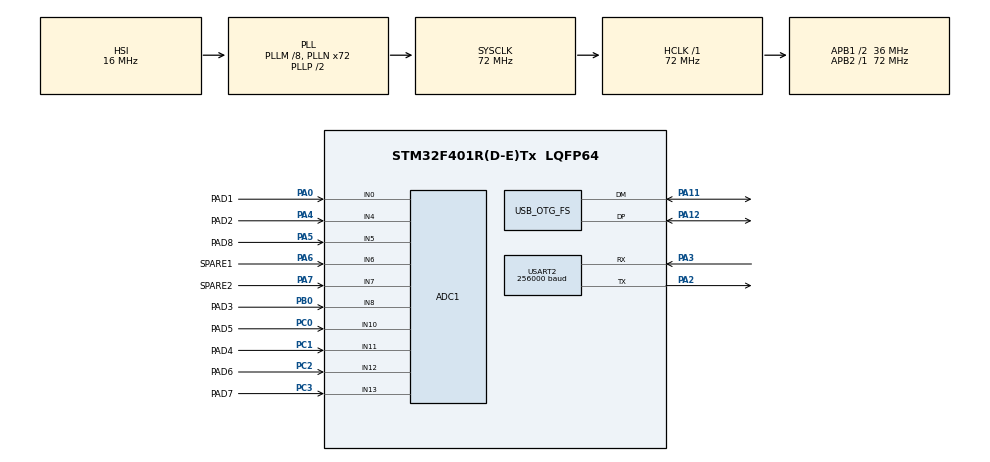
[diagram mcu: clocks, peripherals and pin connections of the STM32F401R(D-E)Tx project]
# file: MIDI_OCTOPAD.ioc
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ADC1.Channel-0\#ChannelRegularConversion=ADC_CHANNEL_0
ADC1.Channel-1\#ChannelRegularConversion=ADC_CHANNEL_4
ADC1.Channel-2\#ChannelRegularConversion=ADC_CHANNEL_8
ADC1.Channel-3\#ChannelRegularConversion=ADC_CHANNEL_11
ADC1.Channel-4\#ChannelRegularConversion=ADC_CHANNEL_12
ADC1.Channel-5\#ChannelRegularConversion=ADC_CHANNEL_13
ADC1.ContinuousConvMode=DISABLE
ADC1.DMAContinuousRequests=DISABLE
ADC1.NbrOfConversion=6
ADC1.NbrOfConversionFlag=1
ADC1.Rank-0\#ChannelRegularConversion=1
ADC1.Rank-1\#ChannelRegularConversion=2
ADC1.Rank-2\#ChannelRegularConversion=3
ADC1.Rank-3\#ChannelRegularConversion=4
ADC1.Rank-4\#ChannelRegularConversion=5
ADC1.Rank-5\#ChannelRegularConversion=6
ADC1.SamplingTime-0\#ChannelRegularConversion=ADC_SAMPLETIME_3CYCLES
ADC1.SamplingTime-1\#ChannelRegularConversion=ADC_SAMPLETIME_3CYCLES
ADC1.SamplingTime-2\#ChannelRegularConversion=ADC_SAMPLETIME_3CYCLES
ADC1.SamplingTime-3\#ChannelRegularConversion=ADC_SAMPLETIME_3CYCLES
ADC1.SamplingTime-4\#ChannelRegularConversion=ADC_SAMPLETIME_3CYCLES
ADC1.SamplingTime-5\#ChannelRegularConversion=ADC_SAMPLETIME_3CYCLES
ADC1.ScanConvMode=ENABLE
ADC1.master=1
Dma.ADC1.0.Direction=DMA_PERIPH_TO_MEMORY
Dma.ADC1.0.FIFOMode=DMA_FIFOMODE_DISABLE
Dma.ADC1.0.Instance=DMA2_Stream0
Dma.ADC1.0.MemDataAlignment=DMA_MDATAALIGN_WORD
Dma.ADC1.0.MemInc=DMA_MINC_ENABLE
Dma.ADC1.0.Mode=DMA_NORMAL
Dma.ADC1.0.PeriphDataAlignment=DMA_PDATAALIGN_WORD
Dma.ADC1.0.PeriphInc=DMA_PINC_DISABLE
Dma.ADC1.0.Priority=DMA_PRIORITY_LOW
Dma.Request0=ADC1
Mcu.Family=STM32F4
Mcu.Name=STM32F401R(D-E)Tx
Mcu.Package=LQFP64
NVIC.ADC_IRQn=true\:0\:0\:false\:false\:true\:true\:true\:true
NVIC.DMA2_Stream0_IRQn=true\:0\:0\:false\:false\:true\:false\:true\:true
NVIC.OTG_FS_IRQn=true\:0\:0\:false\:false\:true\:false\:true\:true
NVIC.PriorityGroup=NVIC_PRIORITYGROUP_4
PA0-WKUP.GPIO_Label=PAD1
PA0-WKUP.Signal=ADCx_IN0
PA11.Mode=Device_Only
PA11.Signal=USB_OTG_FS_DM
PA12.Mode=Device_Only
PA12.Signal=USB_OTG_FS_DP
PA2.Mode=Asynchronous
PA2.Signal=USART2_TX
PA3.Mode=Asynchronous
PA3.Signal=USART2_RX
PA4.GPIO_Label=PAD2
PA4.Signal=ADCx_IN4
PA5.GPIO_Label=PAD8
PA5.Signal=ADCx_IN5
PA6.GPIO_Label=SPARE1
PA6.Signal=ADCx_IN6
PA7.GPIO_Label=SPARE2
PA7.Signal=ADCx_IN7
PB0.GPIO_Label=PAD3
PB0.Signal=ADCx_IN8
PC0.GPIO_Label=PAD5
PC0.Signal=ADCx_IN10
PC1.GPIO_Label=PAD4
PC1.Signal=ADCx_IN11
PC2.GPIO_Label=PAD6
PC2.Signal=ADCx_IN12
PC3.GPIO_Label=PAD7
PC3.Signal=ADCx_IN13
ProjectManager.HeapSize=0x200
ProjectManager.StackSize=0x400
ProjectManager.TargetToolchain=STM32CubeIDE
RCC.48MHZClocksFreq_Value=48000000
RCC.AHBFreq_Value=72000000
RCC.APB1CLKDivider=RCC_HCLK_DIV2
RCC.APB1Freq_Value=36000000
RCC.APB1TimFreq_Value=72000000
RCC.APB2Freq_Value=72000000
RCC.APB2TimFreq_Value=72000000
RCC.CortexFreq_Value=72000000
RCC.HCLKFreq_Value=72000000
RCC.HSE_VALUE=25000000
RCC.HSI_VALUE=16000000
RCC.LSE_VALUE=32768
RCC.PLLM=8
RCC.PLLN=72
RCC.PLLQ=3
RCC.PLLSource=RCC_PLLSOURCE_HSI
RCC.PLLSourceVirtualString=RCC_PLLSOURCE_HSI
RCC.SYSCLKFreq_VALUE=72000000
RCC.SYSCLKSource=RCC_SYSCLKSOURCE_PLLCLK
RCC.VCOOutputFreq_Value=144000000
SH.ADCx_IN0.0=ADC1_IN0,IN0
SH.ADCx_IN10.0=ADC1_IN10,IN10
SH.ADCx_IN11.0=ADC1_IN11,IN11
SH.ADCx_IN12.0=ADC1_IN12,IN12
SH.ADCx_IN13.0=ADC1_IN13,IN13
SH.ADCx_IN4.0=ADC1_IN4,IN4
SH.ADCx_IN5.0=ADC1_IN5,IN5
SH.ADCx_IN6.0=ADC1_IN6,IN6
SH.ADCx_IN7.0=ADC1_IN7,IN7
SH.ADCx_IN8.0=ADC1_IN8,IN8
USART2.BaudRate=256000
USART2.Mode=MODE_TX
USART2.VirtualMode=VM_ASYNC
USB_DEVICE.CLASS_NAME_FS=HID
USB_DEVICE.VirtualMode-HID_FS=Hid
USB_DEVICE.VirtualModeFS=Hid_FS
USB_OTG_FS.VirtualMode=Device_Only
VP_USB_DEVICE_VS_USB_DEVICE_HID_FS.Mode=HID_FS
board=custom

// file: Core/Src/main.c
/* USER CODE BEGIN Header */
/**
  ******************************************************************************
  * @file           : main.c
  * @brief          : Main program body
  ******************************************************************************
  * @attention
  *
  * Copyright (c) 2024 STMicroelectronics.
  * All rights reserved.
  *
  * This software is licensed under terms that can be found in the LICENSE file
  * in the root directory of this software component.
  * If no LICENSE file comes with this software, it is provided AS-IS.
  *
  ******************************************************************************
  */
/* USER CODE END Header */
#include "main.h"
#include "usb_device.h"

/* USER CODE BEGIN Includes */
#include <stdint.h>
#include "adcread.h"
#include "midi.h"
#include "songs.h"
#include "usbd_hid.h"
#include "module_options.h"
/* USER CODE END Includes */

/* USER CODE BEGIN PTD */

#define NO_OF_ADCBUFFERS  2
float ADCconv[NO_OF_ADCCHANNELS];
uint32_t ADCRawBuff[NO_OF_ADCBUFFERS][NO_OF_ADCCHANNELS];

uint8_t PAD_Active[NO_OF_ADCCHANNELS];
uint8_t PAD_FadeOutValue[NO_OF_ADCCHANNELS] = {1500,1500,1500,1500,1500,1500,1500,1500};
uint32_t PAD_Debounce[NO_OF_ADCCHANNELS] = {1000,1000,1000,1000,1000,1000,1000,1000};
uint32_t PAD_ScanWindow[NO_OF_ADCCHANNELS] = {100,100,100,100,100,100,100,100};
uint32_t PAD_TickCouner[NO_OF_ADCCHANNELS];

uint32_t PAD_Threshold[NO_OF_ADCCHANNELS] = {200,200,200,200,200,200,400,400};

/* USER CODE END PTD */

/* USER CODE BEGIN PD */
uint8_t drums[] = {36,38,37,42,44,46,65,48,45,41,51,53,49,57,58,52,55};
/* USER CODE END PD */

ADC_HandleTypeDef hadc1;
DMA_HandleTypeDef hdma_adc1;

UART_HandleTypeDef huart2;

void SystemClock_Config(void);
static void MX_GPIO_Init(void);
static void MX_DMA_Init(void);
static void MX_ADC1_Init(void);
static void MX_USART2_UART_Init(void);
/* USER CODE BEGIN PFP */

uint32_t adcRaw[NO_OF_ADCCHANNELS];
float 	ADCval[NO_OF_ADCCHANNELS];

#define MAX_ADC_CLIP_VOLTAGE    4095
/* USER CODE END PFP */

int main(void)
{
  /* USER CODE BEGIN 1 */
	uint8_t NoteOn[3];
	 ADC_ChannelConfTypeDef sConfig = {0};
	 uint8_t currentBuffCount=0,nextBufferCounter=0;;
	 uint32_t curTick,NextTick,TimeElapsed;
	  uint8_t midivelocity=0;

	 uint32_t MessageSent=0;
	 //for max peak detection

	 uint32_t currmax[NO_OF_ADCCHANNELS];   /*Holds maximum value it detected over the window*/
	 uint8_t EnableScan[NO_OF_ADCCHANNELS]; /*ENable the Scan mode*/
	 uint8_t EnableFade[NO_OF_ADCCHANNELS]; /*Enable or disable the Fade Mode*/
  /* USER CODE END 1 */

  /* MCU Configuration--------------------------------------------------------*/

  /* Reset of all peripherals, Initializes the Flash interface and the Systick. */
  HAL_Init();

  /* Configure the system clock */
  SystemClock_Config();

  /* Initialize all configured peripherals */
  MX_GPIO_Init();
  MX_DMA_Init();
  MX_ADC1_Init();
  MX_USART2_UART_Init();
  MX_USB_DEVICE_Init();
  /* USER CODE BEGIN 2 */

  memset(PAD_Active,0,sizeof(PAD_Active));
  memset(currmax,0,sizeof(currmax));

  ADC_Update(&ADCRawBuff[currentBuffCount]);
  nextBufferCounter++;

  while(getConvStatus()==0);

  /* USER CODE END 2 */

  /* Infinite loop */
  /* USER CODE BEGIN WHILE */
  while (1)
  {
#if ENABLE_TEST_MODE
	 while(1){
		  for(int i=0;i<sizeof(drums);i++){
			  NoteON(drums[i], 0, 100); /*Turn on the note*/
			  HAL_Delay(500);          /*Delay of 500ms*/
			  NoteOFF(drums[i], 0, 100); /*Turn OFF the node*/
			  HAL_Delay(500);			 /*Delay of 500ms*/
		  }

	  }

#endif

	  ADC_Update((uint32_t*)&ADCRawBuff[nextBufferCounter]); /*Start DMA conversion for BUffer2*/

	  memcpy(adcRaw,ADCRawBuff[currentBuffCount],sizeof(adcRaw)); /*Copy results from DMA buffer1*/
	  for(int i=0;i<NO_OF_ADCCHANNELS;i++){ /*Iterating over all Pads*/

		 if((adcRaw[i]>PAD_Threshold[i]) && (PAD_Active[i]==0) ){  /*<Check if adc is greater than threshold>*/

			  PAD_Active[i]     = 1;/*Set the PAD as active*/
			  EnableScan[i]     = 1;/*Enter Scan Mode*/
			  PAD_TickCouner[i] = 0; /*Initialize delay counter*/
			  currmax[i]=0;          /*Intialize max for peak detection*/

		  }else{
//SCAN MODE
			  if((PAD_Active[i]==1) && (EnableScan[i]==1))  /*Scan for Peak till scan time*/
			  {
				  if(currmax[i]<adcRaw[i]){
					  currmax[i] = adcRaw[i]; /*Update MAX value*/
				  }

		  }

		  if((PAD_TickCouner[i]>PAD_ScanWindow[i]) &&(EnableScan[i]==1) && (PAD_Active[i]==1) ){
			 /*Calculating velocity data after SCAN mode*/
			  EnableScan[i]=0;
			  midivelocity = (127*currmax[i])/MAX_ADC_CLIP_VOLTAGE;       /*Once scan phase is compelted, send data to midi*/

  			  NoteON(drums[i], 0, midivelocity); /*Turn on the PAD*/
			  PAD_FadeOutValue[i] = (255*currmax[i])/MAX_ADC_CLIP_VOLTAGE;
			  EnableFade[i]=1;
			  MessageSent++;
		  }

		  if((PAD_TickCouner[i]> PAD_FadeOutValue[i]) && (EnableFade[i]==1) && (PAD_Active[i]==1)){
			  EnableFade[i]=0;
			 // NoteOFF(drums[i],0,0);

		  }

		  if(PAD_TickCouner[i]>PAD_Debounce[i]){  /*Exect new response after debounce*/

			  PAD_Active[i]=0;

		  }

		  PAD_TickCouner[i]++;
		  }

	  }

	/*  for(int i=0;i<NO_OF_ADCCHANNELS;i++){
		  if(ADCRawBuff[currentBuffCount][i]>PAD_Threshold[i]){

		  }else{
			  if(PAD_Active[i]==1){
				  PAD_Debounce++;
			  }else{

			  }
		  }
	  }
*/
	  /*process the data*/

	  while(getConvStatus()==0); /*Wait for conversion to be completed*/

	  currentBuffCount = nextBufferCounter; /*Update Buffer Pointer*/
	  nextBufferCounter++;
	  if(nextBufferCounter>=NO_OF_ADCBUFFERS){nextBufferCounter=0;}

    /* USER CODE END WHILE */

  }
}

void SystemClock_Config(void)
{
  RCC_OscInitTypeDef RCC_OscInitStruct = {0};
  RCC_ClkInitTypeDef RCC_ClkInitStruct = {0};

  /** Configure the main internal regulator output voltage
  */
  __HAL_RCC_PWR_CLK_ENABLE();
  __HAL_PWR_VOLTAGESCALING_CONFIG(PWR_REGULATOR_VOLTAGE_SCALE2);

  /** Initializes the RCC Oscillators according to the specified parameters
  * in the RCC_OscInitTypeDef structure.
  */
  RCC_OscInitStruct.OscillatorType = RCC_OSCILLATORTYPE_HSI;
  RCC_OscInitStruct.HSIState = RCC_HSI_ON;
  RCC_OscInitStruct.HSICalibrationValue = RCC_HSICALIBRATION_DEFAULT;
  RCC_OscInitStruct.PLL.PLLState = RCC_PLL_ON;
  RCC_OscInitStruct.PLL.PLLSource = RCC_PLLSOURCE_HSI;
  RCC_OscInitStruct.PLL.PLLM = 8;
  RCC_OscInitStruct.PLL.PLLN = 72;
  RCC_OscInitStruct.PLL.PLLP = RCC_PLLP_DIV2;
  RCC_OscInitStruct.PLL.PLLQ = 3;
  if (HAL_RCC_OscConfig(&RCC_OscInitStruct) != HAL_OK)
  {
    Error_Handler();
  }

  /** Initializes the CPU, AHB and APB buses clocks
  */
  RCC_ClkInitStruct.ClockType = RCC_CLOCKTYPE_HCLK|RCC_CLOCKTYPE_SYSCLK
                              |RCC_CLOCKTYPE_PCLK1|RCC_CLOCKTYPE_PCLK2;
  RCC_ClkInitStruct.SYSCLKSource = RCC_SYSCLKSOURCE_PLLCLK;
  RCC_ClkInitStruct.AHBCLKDivider = RCC_SYSCLK_DIV1;
  RCC_ClkInitStruct.APB1CLKDivider = RCC_HCLK_DIV2;
  RCC_ClkInitStruct.APB2CLKDivider = RCC_HCLK_DIV1;

  if (HAL_RCC_ClockConfig(&RCC_ClkInitStruct, FLASH_LATENCY_2) != HAL_OK)
  {
    Error_Handler();
  }
}

static void MX_ADC1_Init(void)
{

  ADC_ChannelConfTypeDef sConfig = {0};

  /** Configure the global features of the ADC (Clock, Resolution, Data Alignment and number of conversion)
  */
  hadc1.Instance = ADC1;
  hadc1.Init.ClockPrescaler = ADC_CLOCK_SYNC_PCLK_DIV2;
  hadc1.Init.Resolution = ADC_RESOLUTION_12B;
  hadc1.Init.ScanConvMode = ENABLE;
  hadc1.Init.ContinuousConvMode = DISABLE;
  hadc1.Init.DiscontinuousConvMode = DISABLE;
  hadc1.Init.ExternalTrigConvEdge = ADC_EXTERNALTRIGCONVEDGE_NONE;
  hadc1.Init.ExternalTrigConv = ADC_SOFTWARE_START;
  hadc1.Init.DataAlign = ADC_DATAALIGN_RIGHT;
  hadc1.Init.NbrOfConversion = 6;
  hadc1.Init.DMAContinuousRequests = DISABLE;
  hadc1.Init.EOCSelection = ADC_EOC_SINGLE_CONV;
  if (HAL_ADC_Init(&hadc1) != HAL_OK)
  {
    Error_Handler();
  }

  /** Configure for the selected ADC regular channel its corresponding rank in the sequencer and its sample time.
  */
  sConfig.Channel = ADC_CHANNEL_0;
  sConfig.Rank = 1;
  sConfig.SamplingTime = ADC_SAMPLETIME_3CYCLES;
  if (HAL_ADC_ConfigChannel(&hadc1, &sConfig) != HAL_OK)
  {
    Error_Handler();
  }

  /** Configure for the selected ADC regular channel its corresponding rank in the sequencer and its sample time.
  */
  sConfig.Channel = ADC_CHANNEL_4;
  sConfig.Rank = 2;
  if (HAL_ADC_ConfigChannel(&hadc1, &sConfig) != HAL_OK)
  {
    Error_Handler();
  }

  /** Configure for the selected ADC regular channel its corresponding rank in the sequencer and its sample time.
  */
  sConfig.Channel = ADC_CHANNEL_8;
  sConfig.Rank = 3;
  if (HAL_ADC_ConfigChannel(&hadc1, &sConfig) != HAL_OK)
  {
    Error_Handler();
  }

  /** Configure for the selected ADC regular channel its corresponding rank in the sequencer and its sample time.
  */
  sConfig.Channel = ADC_CHANNEL_11;
  sConfig.Rank = 4;
  if (HAL_ADC_ConfigChannel(&hadc1, &sConfig) != HAL_OK)
  {
    Error_Handler();
  }

  /** Configure for the selected ADC regular channel its corresponding rank in the sequencer and its sample time.
  */
  sConfig.Channel = ADC_CHANNEL_12;
  sConfig.Rank = 5;
  if (HAL_ADC_ConfigChannel(&hadc1, &sConfig) != HAL_OK)
  {
    Error_Handler();
  }

  /** Configure for the selected ADC regular channel its corresponding rank in the sequencer and its sample time.
  */
  sConfig.Channel = ADC_CHANNEL_13;
  sConfig.Rank = 6;
  if (HAL_ADC_ConfigChannel(&hadc1, &sConfig) != HAL_OK)
  {
    Error_Handler();
  }

}

static void MX_USART2_UART_Init(void)
{

  huart2.Instance = USART2;
  huart2.Init.BaudRate = 256000;
  huart2.Init.WordLength = UART_WORDLENGTH_8B;
  huart2.Init.StopBits = UART_STOPBITS_1;
  huart2.Init.Parity = UART_PARITY_NONE;
  huart2.Init.Mode = UART_MODE_TX;
  huart2.Init.HwFlowCtl = UART_HWCONTROL_NONE;
  huart2.Init.OverSampling = UART_OVERSAMPLING_16;
  if (HAL_UART_Init(&huart2) != HAL_OK)
  {
    Error_Handler();
  }

}

static void MX_DMA_Init(void)
{

  /* DMA controller clock enable */
  __HAL_RCC_DMA2_CLK_ENABLE();

  /* DMA interrupt init */
  /* DMA2_Stream0_IRQn interrupt configuration */
  HAL_NVIC_SetPriority(DMA2_Stream0_IRQn, 0, 0);
  HAL_NVIC_EnableIRQ(DMA2_Stream0_IRQn);

}

static void MX_GPIO_Init(void)
{

  /* GPIO Ports Clock Enable */
  __HAL_RCC_GPIOC_CLK_ENABLE();
  __HAL_RCC_GPIOA_CLK_ENABLE();
  __HAL_RCC_GPIOB_CLK_ENABLE();

}

void Error_Handler(void)
{
  __disable_irq();
  while (1)
  {
  }
}
